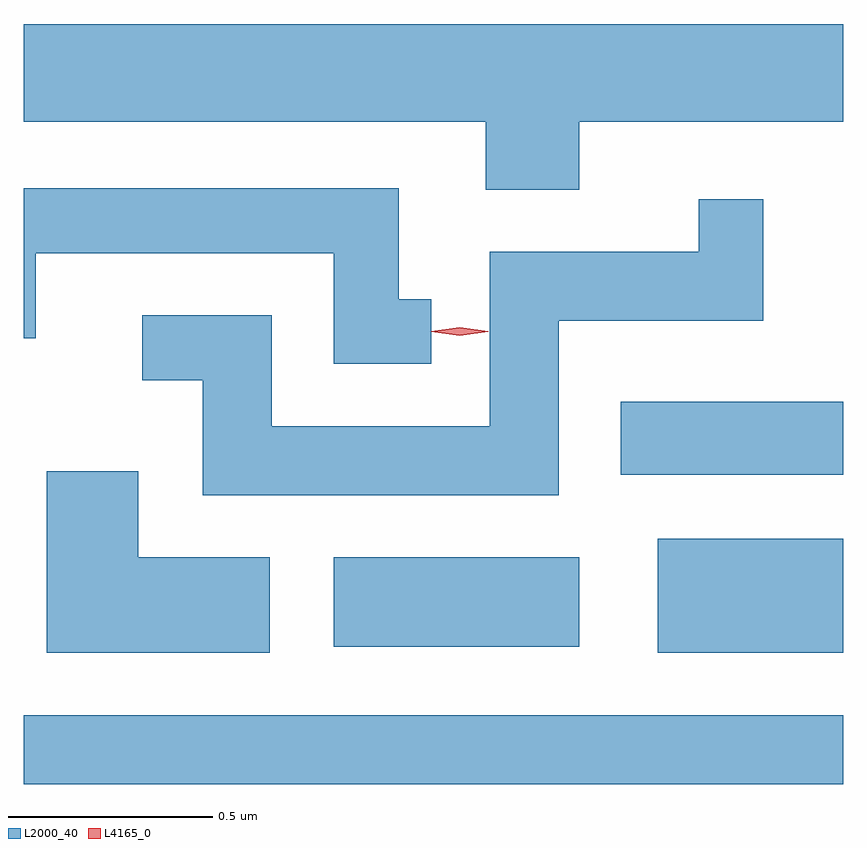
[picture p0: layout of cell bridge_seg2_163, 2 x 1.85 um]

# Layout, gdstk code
import gdstk
lib = gdstk.Library(unit=1e-6, precision=1e-09)
def R(c, l, rs):  # rectangles x0, y0, x1, y1
    for r in rs: c.add(gdstk.rectangle(r[:2], r[2:], *l))
def P(c, l, *ps):  # polygons
    for p in ps: c.add(gdstk.Polygon(p, *l))
L2000_40 = (2000, 40)
L4165_0 = (4165, 0)

bridge_seg2_163 = lib.new_cell('bridge_seg2_163')
R(bridge_seg2_163, L2000_40, [(682.234,1060.021,684.234,1060.189), (683.781,1060.341,684.234,1060.619), (682.991,1060.356,683.589,1060.574), (683.691,1060.776,684.234,1060.954)])
P(bridge_seg2_163, L2000_40, [(683.589,1061.636),(684.234,1061.636),(684.234,1061.875),(682.234,1061.875),(682.234,1061.636),(683.361,1061.636),(683.361,1061.471),(683.589,1061.471)],
  [(683.228,1061.204),(683.149,1061.204),(683.149,1061.474),(682.234,1061.474),(682.234,1061.108),(682.264,1061.108),(682.264,1061.316),(682.991,1061.316),(682.991,1061.046),(683.228,1061.046)],
  [(683.539,1061.151),(684.039,1061.151),(684.039,1061.448),(683.881,1061.448),(683.881,1061.319),(683.371,1061.319),(683.371,1060.894),(682.839,1060.894),(682.839,1061.164),(682.523,1061.164),(682.523,1061.006),(682.671,1061.006),(682.671,1060.726),(683.539,1060.726)],
  [(682.834,1060.574),(682.514,1060.574),(682.514,1060.784),(682.291,1060.784),(682.291,1060.341),(682.834,1060.341)])
P(bridge_seg2_163, L4165_0, [(683.298,1061.115),(683.229,1061.124),(683.229,1061.125),(683.229,1061.126),(683.298,1061.135),(683.368,1061.125),(683.368,1061.124),(683.368,1061.124)])

lib.write_gds('bridge_seg2_163.gds')
